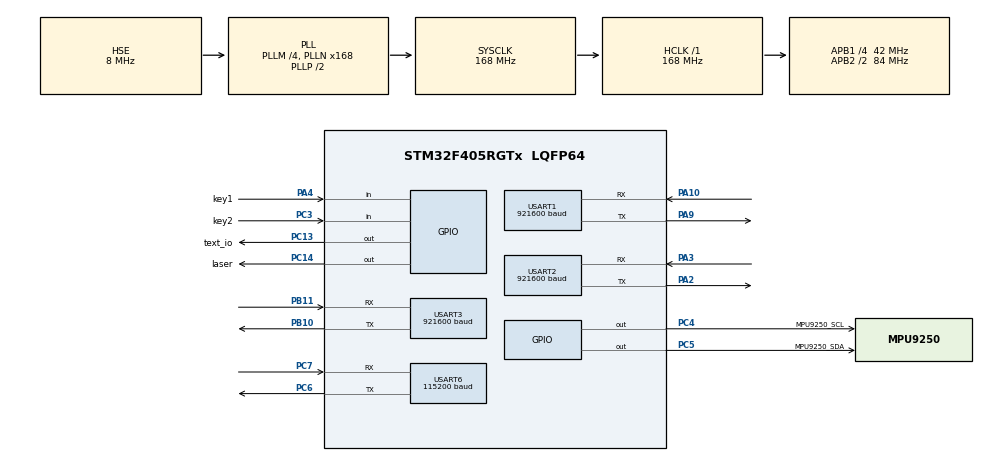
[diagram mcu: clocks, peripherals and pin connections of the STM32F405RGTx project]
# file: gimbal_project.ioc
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Dma.Request0=USART1_RX
Dma.Request1=USART3_RX
Dma.Request2=USART6_RX
Dma.Request3=USART6_TX
Dma.Request4=USART3_TX
Dma.Request5=USART1_TX
Dma.Request6=USART2_RX
Dma.Request7=USART2_TX
Dma.USART1_RX.0.Direction=DMA_PERIPH_TO_MEMORY
Dma.USART1_RX.0.FIFOMode=DMA_FIFOMODE_DISABLE
Dma.USART1_RX.0.Instance=DMA2_Stream2
Dma.USART1_RX.0.MemDataAlignment=DMA_MDATAALIGN_BYTE
Dma.USART1_RX.0.MemInc=DMA_MINC_ENABLE
Dma.USART1_RX.0.Mode=DMA_CIRCULAR
Dma.USART1_RX.0.PeriphDataAlignment=DMA_PDATAALIGN_BYTE
Dma.USART1_RX.0.PeriphInc=DMA_PINC_DISABLE
Dma.USART1_RX.0.Priority=DMA_PRIORITY_LOW
Dma.USART1_TX.5.Direction=DMA_MEMORY_TO_PERIPH
Dma.USART1_TX.5.FIFOMode=DMA_FIFOMODE_DISABLE
Dma.USART1_TX.5.Instance=DMA2_Stream7
Dma.USART1_TX.5.MemDataAlignment=DMA_MDATAALIGN_BYTE
Dma.USART1_TX.5.MemInc=DMA_MINC_ENABLE
Dma.USART1_TX.5.Mode=DMA_NORMAL
Dma.USART1_TX.5.PeriphDataAlignment=DMA_PDATAALIGN_BYTE
Dma.USART1_TX.5.PeriphInc=DMA_PINC_DISABLE
Dma.USART1_TX.5.Priority=DMA_PRIORITY_LOW
Dma.USART2_RX.6.Direction=DMA_PERIPH_TO_MEMORY
Dma.USART2_RX.6.FIFOMode=DMA_FIFOMODE_DISABLE
Dma.USART2_RX.6.Instance=DMA1_Stream5
Dma.USART2_RX.6.MemDataAlignment=DMA_MDATAALIGN_BYTE
Dma.USART2_RX.6.MemInc=DMA_MINC_ENABLE
Dma.USART2_RX.6.Mode=DMA_CIRCULAR
Dma.USART2_RX.6.PeriphDataAlignment=DMA_PDATAALIGN_BYTE
Dma.USART2_RX.6.PeriphInc=DMA_PINC_DISABLE
Dma.USART2_RX.6.Priority=DMA_PRIORITY_LOW
Dma.USART2_TX.7.Direction=DMA_MEMORY_TO_PERIPH
Dma.USART2_TX.7.FIFOMode=DMA_FIFOMODE_DISABLE
Dma.USART2_TX.7.Instance=DMA1_Stream6
Dma.USART2_TX.7.MemDataAlignment=DMA_MDATAALIGN_BYTE
Dma.USART2_TX.7.MemInc=DMA_MINC_ENABLE
Dma.USART2_TX.7.Mode=DMA_NORMAL
Dma.USART2_TX.7.PeriphDataAlignment=DMA_PDATAALIGN_BYTE
Dma.USART2_TX.7.PeriphInc=DMA_PINC_DISABLE
Dma.USART2_TX.7.Priority=DMA_PRIORITY_LOW
Dma.USART3_RX.1.Direction=DMA_PERIPH_TO_MEMORY
Dma.USART3_RX.1.FIFOMode=DMA_FIFOMODE_DISABLE
Dma.USART3_RX.1.Instance=DMA1_Stream1
Dma.USART3_RX.1.MemDataAlignment=DMA_MDATAALIGN_BYTE
Dma.USART3_RX.1.MemInc=DMA_MINC_ENABLE
Dma.USART3_RX.1.Mode=DMA_CIRCULAR
Dma.USART3_RX.1.PeriphDataAlignment=DMA_PDATAALIGN_BYTE
Dma.USART3_RX.1.PeriphInc=DMA_PINC_DISABLE
Dma.USART3_RX.1.Priority=DMA_PRIORITY_LOW
Dma.USART3_TX.4.Direction=DMA_MEMORY_TO_PERIPH
Dma.USART3_TX.4.FIFOMode=DMA_FIFOMODE_DISABLE
Dma.USART3_TX.4.Instance=DMA1_Stream3
Dma.USART3_TX.4.MemDataAlignment=DMA_MDATAALIGN_BYTE
Dma.USART3_TX.4.MemInc=DMA_MINC_ENABLE
Dma.USART3_TX.4.Mode=DMA_NORMAL
Dma.USART3_TX.4.PeriphDataAlignment=DMA_PDATAALIGN_BYTE
Dma.USART3_TX.4.PeriphInc=DMA_PINC_DISABLE
Dma.USART3_TX.4.Priority=DMA_PRIORITY_LOW
Dma.USART6_RX.2.Direction=DMA_PERIPH_TO_MEMORY
Dma.USART6_RX.2.FIFOMode=DMA_FIFOMODE_DISABLE
Dma.USART6_RX.2.Instance=DMA2_Stream1
Dma.USART6_RX.2.MemDataAlignment=DMA_MDATAALIGN_BYTE
Dma.USART6_RX.2.MemInc=DMA_MINC_ENABLE
Dma.USART6_RX.2.Mode=DMA_NORMAL
Dma.USART6_RX.2.PeriphDataAlignment=DMA_PDATAALIGN_BYTE
Dma.USART6_RX.2.PeriphInc=DMA_PINC_DISABLE
Dma.USART6_RX.2.Priority=DMA_PRIORITY_LOW
Dma.USART6_TX.3.Direction=DMA_MEMORY_TO_PERIPH
Dma.USART6_TX.3.FIFOMode=DMA_FIFOMODE_DISABLE
Dma.USART6_TX.3.Instance=DMA2_Stream6
Dma.USART6_TX.3.MemDataAlignment=DMA_MDATAALIGN_BYTE
Dma.USART6_TX.3.MemInc=DMA_MINC_ENABLE
Dma.USART6_TX.3.Mode=DMA_NORMAL
Dma.USART6_TX.3.PeriphDataAlignment=DMA_PDATAALIGN_BYTE
Dma.USART6_TX.3.PeriphInc=DMA_PINC_DISABLE
Dma.USART6_TX.3.Priority=DMA_PRIORITY_LOW
Mcu.Family=STM32F4
Mcu.Name=STM32F405RGTx
Mcu.Package=LQFP64
NVIC.DMA1_Stream1_IRQn=true\:0\:0\:false\:false\:true\:false\:true\:true
NVIC.DMA1_Stream3_IRQn=true\:0\:0\:false\:false\:true\:false\:true\:true
NVIC.DMA1_Stream5_IRQn=true\:0\:0\:false\:false\:true\:false\:true\:true
NVIC.DMA1_Stream6_IRQn=true\:0\:0\:false\:false\:true\:false\:true\:true
NVIC.DMA2_Stream1_IRQn=true\:0\:0\:false\:false\:true\:false\:true\:true
NVIC.DMA2_Stream2_IRQn=true\:0\:0\:false\:false\:true\:false\:true\:true
NVIC.DMA2_Stream6_IRQn=true\:0\:0\:false\:false\:true\:false\:true\:true
NVIC.DMA2_Stream7_IRQn=true\:0\:0\:false\:false\:true\:false\:true\:true
NVIC.PriorityGroup=NVIC_PRIORITYGROUP_4
NVIC.TIM7_IRQn=true\:0\:0\:false\:false\:true\:true\:true\:true
NVIC.TIM8_BRK_TIM12_IRQn=true\:0\:0\:false\:false\:true\:true\:true\:true
NVIC.TIM8_CC_IRQn=true\:0\:0\:false\:false\:true\:true\:true\:true
NVIC.TIM8_TRG_COM_TIM14_IRQn=true\:0\:0\:false\:false\:true\:true\:true\:true
NVIC.TIM8_UP_TIM13_IRQn=true\:0\:0\:false\:false\:true\:true\:true\:true
NVIC.USART1_IRQn=true\:0\:0\:false\:false\:true\:true\:true\:true
NVIC.USART2_IRQn=true\:0\:0\:false\:false\:true\:true\:true\:true
NVIC.USART3_IRQn=true\:0\:0\:false\:false\:true\:true\:true\:true
NVIC.USART6_IRQn=true\:0\:0\:false\:false\:true\:true\:true\:true
PA10.Mode=Asynchronous
PA10.Signal=USART1_RX
PA13.Mode=Serial_Wire
PA13.Signal=SYS_JTMS-SWDIO
PA14.Mode=Serial_Wire
PA14.Signal=SYS_JTCK-SWCLK
PA2.Mode=Asynchronous
PA2.Signal=USART2_TX
PA3.Mode=Asynchronous
PA3.Signal=USART2_RX
PA4.GPIO_Label=key1
PA4.GPIO_PuPd=GPIO_PULLUP
PA4.Signal=GPIO_Input
PA9.Mode=Asynchronous
PA9.Signal=USART1_TX
PB10.Mode=Asynchronous
PB10.Signal=USART3_TX
PB11.Mode=Asynchronous
PB11.Signal=USART3_RX
PC13-ANTI_TAMP.GPIO_Label=text_io
PC13-ANTI_TAMP.Signal=GPIO_Output
PC14-OSC32_IN.GPIO_Label=laser
PC14-OSC32_IN.Signal=GPIO_Output
PC3.GPIO_Label=key2
PC3.GPIO_PuPd=GPIO_PULLUP
PC3.Signal=GPIO_Input
PC4.GPIO_Label=MPU9250_SCL
PC4.Signal=GPIO_Output
PC5.GPIO_Label=MPU9250_SDA
PC5.PinState=GPIO_PIN_SET
PC5.Signal=GPIO_Output
PC6.Mode=Asynchronous
PC6.Signal=USART6_TX
PC7.Mode=Asynchronous
PC7.Signal=USART6_RX
PH0-OSC_IN.Mode=HSE-External-Oscillator
PH0-OSC_IN.Signal=RCC_OSC_IN
PH1-OSC_OUT.Mode=HSE-External-Oscillator
PH1-OSC_OUT.Signal=RCC_OSC_OUT
ProjectManager.HeapSize=0x200
ProjectManager.StackSize=0x400
ProjectManager.TargetToolchain=MDK-ARM V5.32
RCC.48MHZClocksFreq_Value=84000000
RCC.AHBFreq_Value=168000000
RCC.APB1CLKDivider=RCC_HCLK_DIV4
RCC.APB1Freq_Value=42000000
RCC.APB1TimFreq_Value=84000000
RCC.APB2CLKDivider=RCC_HCLK_DIV2
RCC.APB2Freq_Value=84000000
RCC.APB2TimFreq_Value=168000000
RCC.CortexFreq_Value=168000000
RCC.HCLKFreq_Value=168000000
RCC.HSE_VALUE=8000000
RCC.HSI_VALUE=16000000
RCC.LSE_VALUE=32768
RCC.PLLM=4
RCC.PLLN=168
RCC.PLLSourceVirtual=RCC_PLLSOURCE_HSE
RCC.SYSCLKFreq_VALUE=168000000
RCC.SYSCLKSource=RCC_SYSCLKSOURCE_PLLCLK
RCC.VCOOutputFreq_Value=336000000
TIM7.Period=999
TIM7.Prescaler=83
TIM8.AutoReloadPreload=TIM_AUTORELOAD_PRELOAD_ENABLE
TIM8.Period=10000-1
TIM8.Prescaler=168-1
USART1.BaudRate=921600
USART1.VirtualMode=VM_ASYNC
USART2.BaudRate=921600
USART2.VirtualMode=VM_ASYNC
USART3.BaudRate=921600
USART3.VirtualMode=VM_ASYNC
USART6.BaudRate=115200
USART6.VirtualMode=VM_ASYNC
VP_TIM7_VS_ClockSourceINT.Mode=Enable_Timer
VP_TIM8_VS_ClockSourceINT.Mode=Internal
board=custom

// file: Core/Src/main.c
/* USER CODE BEGIN Header */
/**
 ******************************************************************************
 * @file           : main.c
 * @brief          : Main program body
 ******************************************************************************
 * @attention
 *
 * Copyright (c) 2026 STMicroelectronics.
 * All rights reserved.
 *
 * This software is licensed under terms that can be found in the LICENSE file
 * in the root directory of this software component.
 * If no LICENSE file comes with this software, it is provided AS-IS.
 *
 ******************************************************************************
 */
/* USER CODE END Header */
#include "main.h"
#include "dma.h"
#include "tim.h"
#include "usart.h"
#include "gpio.h"

/* USER CODE BEGIN Includes */
#include "ZhangDaTou.h"
#include "common.h"
#include "user_tim.h"
// #include "mpu9250_app.h"
/* USER CODE END Includes */

void SystemClock_Config(void);

/* USER CODE BEGIN 0 */
uint8_t rx_byte;
/* USER CODE END 0 */

int main(void)
{

  /* MCU Configuration--------------------------------------------------------*/

  /* Reset of all peripherals, Initializes the Flash interface and the Systick. */
  HAL_Init();

  /* Configure the system clock */
  SystemClock_Config();

  /* Initialize all configured peripherals */
  MX_GPIO_Init();
  MX_DMA_Init();
  MX_USART1_UART_Init();
  MX_USART3_UART_Init();
  MX_USART6_UART_Init();
  MX_TIM7_Init();
  MX_TIM8_Init();
  MX_USART2_UART_Init();
  /* USER CODE BEGIN 2 */

  ZDT_UART_RxStart();
  HAL_Delay(100);
  gimbal_init();
  HAL_Delay(500);

  // while (MPU9250_UserInit() != 0U)
  // {
  //   HAL_Delay(100);
  // }

  // ZhangDaTou_Enable(&pitchmotor, 0);
  // HAL_Delay(5);
  // ZhangDaTou_Enable(&yawmotor, 0);
  // HAL_Delay(5);

  ZhangDaTou_Enable(&pitchmotor, 1);
  HAL_Delay(5);
  ZhangDaTou_Enable(&yawmotor, 1);
  HAL_Delay(5);

  ZhangDaTou_StartPosFeedback(&pitchmotor, 5);
  HAL_Delay(50);
  ZhangDaTou_StartPosFeedback(&yawmotor, 5);
  HAL_Delay(50);

  // CarSpeak_UART_RxStart();

  key_init();
  menu_init();
//	yawmotor.setSpeed = 0;

  User_TIM_Init();

  /* USER CODE END 2 */

  /* Infinite loop */
  /* USER CODE BEGIN WHILE */
  while (1)
  {
    // HAL_GPIO_WritePin(text_io_GPIO_Port,text_io_Pin,GPIO_PIN_SET);
    // camera_x_pid_ctrl(&sys, 0.0f);
    // camera_y_pid_ctrl(&sys, 0.0f);
    // HAL_GPIO_WritePin(text_io_GPIO_Port,text_io_Pin,GPIO_PIN_RESET);
    // HAL_Delay(50);

    //    uint8_t text[8] = {11,22,33,44,55,66,77,88};
    //    HAL_UART_Transmit(&huart3, text, 8, 0xFFFF);
    //    HAL_Delay(100);

    //  if (HAL_UART_Receive(&huart3, &rx_byte, 1, 10) == HAL_OK)
    //  {
    //    HAL_UART_Transmit(&huart3, &rx_byte, 1, 0xFFFF);
    //  }
    //  HAL_Delay(100);

    //  ZhangDaTou_Task();

    // uint8_t text[8] = {11,22,33,44,55,66,77,88};
    // HAL_UART_Transmit(&huart6, text, 8, 0xff);
    // HAL_Delay(100);

    // HAL_GPIO_WritePin(GPIOC,GPIO_PIN_14,GPIO_PIN_SET);

    /* USER CODE END WHILE */

  }
}

void SystemClock_Config(void)
{
  RCC_OscInitTypeDef RCC_OscInitStruct = {0};
  RCC_ClkInitTypeDef RCC_ClkInitStruct = {0};

  /** Configure the main internal regulator output voltage
  */
  __HAL_RCC_PWR_CLK_ENABLE();
  __HAL_PWR_VOLTAGESCALING_CONFIG(PWR_REGULATOR_VOLTAGE_SCALE1);

  /** Initializes the RCC Oscillators according to the specified parameters
  * in the RCC_OscInitTypeDef structure.
  */
  RCC_OscInitStruct.OscillatorType = RCC_OSCILLATORTYPE_HSE;
  RCC_OscInitStruct.HSEState = RCC_HSE_ON;
  RCC_OscInitStruct.PLL.PLLState = RCC_PLL_ON;
  RCC_OscInitStruct.PLL.PLLSource = RCC_PLLSOURCE_HSE;
  RCC_OscInitStruct.PLL.PLLM = 4;
  RCC_OscInitStruct.PLL.PLLN = 168;
  RCC_OscInitStruct.PLL.PLLP = RCC_PLLP_DIV2;
  RCC_OscInitStruct.PLL.PLLQ = 4;
  if (HAL_RCC_OscConfig(&RCC_OscInitStruct) != HAL_OK)
  {
    Error_Handler();
  }

  /** Initializes the CPU, AHB and APB buses clocks
  */
  RCC_ClkInitStruct.ClockType = RCC_CLOCKTYPE_HCLK|RCC_CLOCKTYPE_SYSCLK
                              |RCC_CLOCKTYPE_PCLK1|RCC_CLOCKTYPE_PCLK2;
  RCC_ClkInitStruct.SYSCLKSource = RCC_SYSCLKSOURCE_PLLCLK;
  RCC_ClkInitStruct.AHBCLKDivider = RCC_SYSCLK_DIV1;
  RCC_ClkInitStruct.APB1CLKDivider = RCC_HCLK_DIV4;
  RCC_ClkInitStruct.APB2CLKDivider = RCC_HCLK_DIV2;

  if (HAL_RCC_ClockConfig(&RCC_ClkInitStruct, FLASH_LATENCY_5) != HAL_OK)
  {
    Error_Handler();
  }
}

void Error_Handler(void)
{
  __disable_irq();
  while (1)
  {
  }
}
